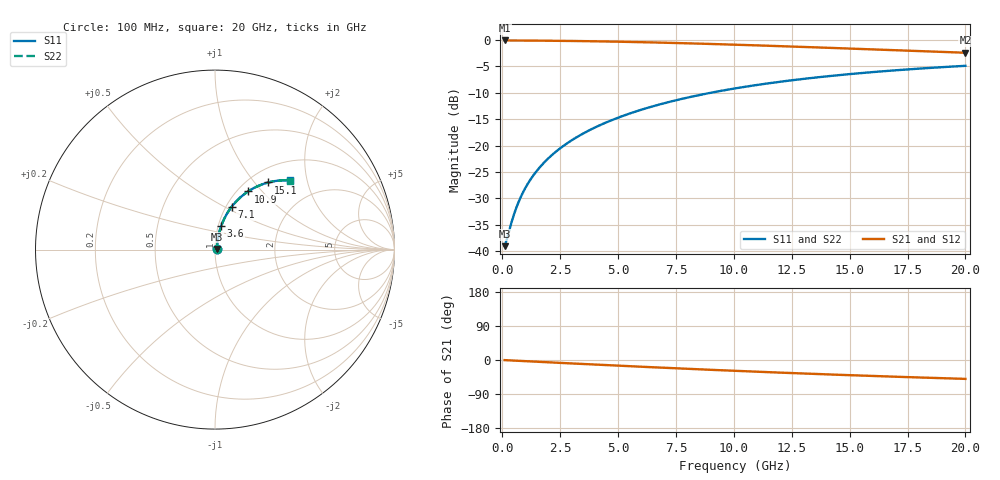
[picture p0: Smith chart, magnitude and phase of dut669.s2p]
! Touchstone file exported from HFSS 2024.1.0
!  File:  C:/UserFiles/LocalFiles/RDL_TSV_Batchsim/temp_RDL_bottom_669_1779786100.aedt
!  Generated:  05:04:00 PM May 26, 2026
!  Design:  RDL_bottom
!  Project:  temp_RDL_bottom_669_1779786100
!  Setup:  Setup1
!  Solution:  Sweep
! Variables:
!  dtsv = 10.80580581um
!  hbump = 3um
!  htsv = 56.44um
!  ldown = 624.33um
!  lrdl = 100um
!  p = 40
!  p1 = 49.75um
!  rhole = 1um
!  t = 450um
!  tdown = 2.06um
!  trdl = 3.915915916um
!  wdown = 10.19um
!  wrdl = 20um
# GHz S MA R 50.000000
! Terminal data exported
! Port[1] = RDL1_T1
! Port[2] = RDL1_T2
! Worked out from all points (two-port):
!   200 points, 100 MHz to 20 GHz, reference 50 ohm
!   highest |S21| = -0.09 dB at 100 MHz (marker M1); lowest = -2.4 dB at 20 GHz (marker M2)
!   |S21| within 3 dB of the highest: start of sweep to end of sweep
!   lowest |S11| = -39.0 dB at 100 MHz (marker M3), VSWR 1.02, Z = 51.1 + j0.393 ohm
!   |S11| at or under -10 dB: start of sweep to 8.998 GHz
!   |S22| runs from -39.0 to -4.9 dB; largest |S21 - S12| = 3.4e-15
!   S11 on the Smith chart (normalised r, x): 100 MHz: 1.02, +0.01; 3.6 GHz: 1.03, +0.27; 7.1 GHz: 1.06, +0.54; 10.9 GHz: 1.12, +0.84; 15.1 GHz: 1.22, +1.18; 20 GHz: 1.39, +1.59
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0.1  0.01117 20.2  0.9895 -0.3  0.9895 -0.3  0.01117 20.2
! Gamma 0 0 0 0
! Port Impedance 50 0 50 0
0.2  0.01307 36.0  0.9895 -0.6  0.9895 -0.6  0.01307 36.0
0.5  0.02214 59.7  0.989 -1.6  0.989 -1.6  0.02214 59.7
0.7  0.02912 66.1  0.9885 -2.2  0.9885 -2.2  0.02912 66.0
1  0.0399 70.9  0.9877 -3.1  0.9877 -3.1  0.0399 70.9
1.3  0.05077 73.4  0.9867 -4.0  0.9867 -4.0  0.05077 73.4
1.7  0.06529 75.1  0.9852 -5.2  0.9852 -5.2  0.06529 75.1
2.2  0.08343 75.9  0.983 -6.7  0.983 -6.7  0.08343 75.9
2.8  0.1052 76.0  0.9798 -8.5  0.9798 -8.5  0.1052 76.0
3.5  0.1304 75.4  0.9754 -10.6  0.9754 -10.6  0.1304 75.4
3.6  0.134 75.3  0.9747 -10.9  0.9747 -10.9  0.134 75.3
4.3  0.1591 74.3  0.9694 -12.9  0.9694 -12.9  0.159 74.3
5  0.1838 73.1  0.9633 -14.9  0.9633 -14.9  0.1838 73.1
6.8  0.2455 69.5  0.9446 -20.0  0.9446 -20.0  0.2455 69.4
7.1  0.2555 68.8  0.9411 -20.8  0.9411 -20.8  0.2555 68.8
8.5  0.3007 65.7  0.9236 -24.6  0.9236 -24.6  0.3007 65.7
10.1  0.3493 62.2  0.9018 -28.7  0.9018 -28.7  0.3492 62.1
10.9  0.3723 60.4  0.8903 -30.7  0.8903 -30.7  0.3721 60.4
13.4  0.438 55.1  0.8533 -36.5  0.8533 -36.5  0.4378 55.0
15.1  0.4774 51.6  0.8278 -40.3  0.8278 -40.3  0.4772 51.6
16.7  0.5108 48.5  0.804 -43.6  0.804 -43.6  0.5106 48.4
20  0.5694 42.6  0.757 -49.8  0.757 -49.8  0.5691 42.5
